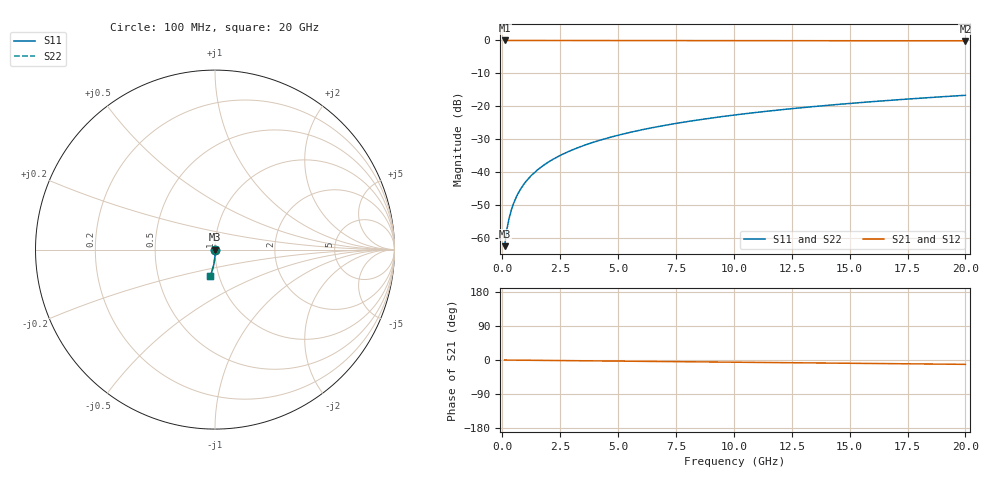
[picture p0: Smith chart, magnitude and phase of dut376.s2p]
! Touchstone file exported from HFSS 2026.1.0
!  File:  C:/ffzhzh/LocalFiles/Ansys_Project_Files/temp_train_TSV_376_1783019678_4048.aedt
!  Generated:  03:16:10 AM Jul  3, 2026
!  Design:  TSV
!  Project:  temp_train_TSV_376_1783019678_4048
! Variables:
!  h_bsmrdl = 2um
!  h_ox = 20um
!  h_rdl = 5um
!  h_sub = 82.4um
!  h_tmrdl = 5um
!  h_tsv = 82.4um
!  h_via = 3um
!  l_bsmrdl = 300um
!  l_sub = 410.36um
!  l_tmrdl = 200um
!  m_sub = 200um
!  pitch = 11.56um
!  r_tsv = 5.18um
!  s_tmrdl = 10um
!  w_bsmrdl = 18um
!  w_sub = 500um
!  w_tmrdl = 12um
!  x_tsv_center1 = 206um
!  x_tsv_center2 = 524um
!  x_tsv_center3 = 736um
!  x_tsv_center4 = 1054um
!  x_tsv_center5 = 1266um
!  x_tsv_center6 = 1584um
# GHz S MA R 50.000000
! Terminal data exported
! Port[1] = TSV1_1_T1
! Port[2] = TSV1_1_T2
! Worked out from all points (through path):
!   200 points, 100 MHz to 20 GHz, reference 50 ohm
!   highest |S21| = 0.00 dB at 100 MHz (marker M1); lowest = -0.1 dB at 20 GHz (marker M2)
!   group delay of S21, straight-line fit = 1.59 ps
!   lowest |S11| = -62.5 dB at 100 MHz (marker M3), VSWR 1.00, Z = 50 - j0.0631 ohm
!   |S11| at or under -10 dB: start of sweep to end of sweep
!   |S22| runs from -62.5 to -16.7 dB; largest |S21 - S12| = 3e-15
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0.1  0.00075 -57.2  0.9996 -0.1  0.9996 -0.1  0.00075 -57.2
! Gamma 0 0 0 0
! Port Impedance 50 0 50 0
0.2  0.00136 -70.6  0.9995 -0.1  0.9995 -0.1  0.00136 -70.6
0.3  0.002026 -75.5  0.9995 -0.2  0.9995 -0.2  0.002026 -75.5
0.4  0.00272 -78.1  0.9994 -0.2  0.9994 -0.2  0.00272 -78.1
0.5  0.003429 -79.9  0.9994 -0.3  0.9994 -0.3  0.003429 -79.9
0.6  0.004146 -81.2  0.9993 -0.4  0.9993 -0.4  0.004146 -81.2
0.7  0.004867 -82.2  0.9993 -0.4  0.9993 -0.4  0.004867 -82.2
0.8  0.005589 -83.1  0.9993 -0.5  0.9993 -0.5  0.005589 -83.1
1  0.007035 -84.3  0.9992 -0.6  0.9992 -0.6  0.007035 -84.3
1.4  0.009927 -85.9  0.9991 -0.8  0.9991 -0.8  0.009927 -85.9
1.7  0.0121 -86.7  0.999 -1.0  0.999 -1.0  0.0121 -86.7
2  0.01427 -87.3  0.9989 -1.2  0.9989 -1.2  0.01427 -87.3
2.7  0.01937 -88.2  0.9987 -1.6  0.9987 -1.6  0.01937 -88.2
3.5  0.02522 -89.1  0.9984 -2.1  0.9984 -2.1  0.02522 -89.1
4.2  0.03038 -89.7  0.998 -2.5  0.998 -2.5  0.03038 -89.7
5  0.0363 -90.3  0.9977 -2.9  0.9977 -2.9  0.0363 -90.3
6.8  0.04968 -91.6  0.9967 -4.0  0.9967 -4.0  0.04968 -91.6
8.3  0.06084 -92.7  0.9959 -4.8  0.9959 -4.8  0.06084 -92.7
10.1  0.07422 -93.9  0.9947 -5.9  0.9947 -5.9  0.07422 -93.9
13.4  0.09864 -96.0  0.9921 -7.7  0.9921 -7.7  0.09864 -96.0
16.7  0.1229 -98.0  0.989 -9.6  0.989 -9.6  0.1229 -98.0
20  0.1468 -100.0  0.9853 -11.5  0.9853 -11.5  0.1468 -100.0
